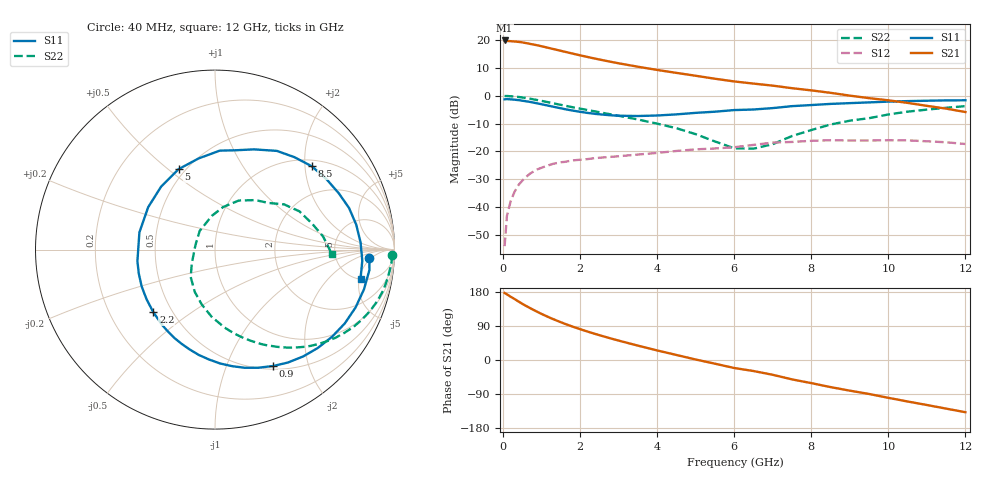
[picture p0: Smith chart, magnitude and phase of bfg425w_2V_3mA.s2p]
! Filename: 23bfg425.001
! BFG425W Field C1
! V1=8.180E-001V,V2=2.000E+000V, I1=3.890E-005A, I2=3.000E-003A
# GHz  S  MA  R 50
!  S11  S21  S12  S22
!Freq(GHz)  Mag  Ang  Mag  Ang  Mag  Ang  Mag  Ang
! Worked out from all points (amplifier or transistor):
!   44 points, 40 MHz to 12 GHz, reference 50 ohm
!   highest |S21| = 19.8 dB at 40 MHz (marker M1)
!   |S21| within 3 dB of that: start of sweep to 1.281 GHz
!   unconditionally stable (mu >= 1): 2.838 GHz to end of sweep
!   at 700 MHz: K = 0.23, MSG = 23.3 dB, |S12| = -28.0 dB
!   at 2.4 GHz: K = 0.84, MSG = 17.8 dB, |S12| = -22.4 dB
!   at 12 GHz: K = 1.63, MAG = 1.1 dB, |S12| = -17.3 dB
!   S11 on the Smith chart (normalised r, x): 40 MHz: 12, -4; 900 MHz: 0.54, -1.48; 2.2 GHz: 0.39, -0.36; 5 GHz: 0.46, +0.54; 8.5 GHz: 1.16, +2.17; 12 GHz: 5.05, -5.23
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0.04  0.861 -3.2  9.781 176.8  0.002 79.3  0.987 -1.7
0.1  0.868 -7.5  9.587 173.3  0.007 86.3  0.986 -4.4
0.2  0.859 -14.9  9.487 166.7  0.013 80.2  0.976 -9.0
0.3  0.847 -22.4  9.367 160.8  0.019 75.7  0.966 -13.3
0.5  0.813 -36.7  9.034 148.3  0.03 67.0  0.929 -21.6
0.7  0.772 -50.4  8.489 137.1  0.04 58.8  0.883 -29.3
0.9  0.725 -63.5  7.98 126.6  0.048 51.8  0.832 -36.2
1.2  0.656 -81.7  7.14 112.3  0.057 42.9  0.756 -45.2
1.5  0.594 -98.7  6.376 99.7  0.064 35.7  0.685 -52.9
1.8  0.542 -114.7  5.697 88.3  0.069 30.0  0.622 -59.7
2.2  0.49 -134.5  4.931 74.8  0.073 24.2  0.551 -67.9
2.6  0.457 -153.5  4.311 62.6  0.078 19.6  0.49 -75.6
3  0.437 -171.6  3.809 51.2  0.082 15.8  0.436 -83.2
3.5  0.432 167.2  3.305 37.9  0.088 11.5  0.374 -93.0
4.5  0.462 130.5  2.563 13.3  0.102 2.3  0.261 -115.6
5  0.492 114.4  2.276 1.3  0.109 -4.0  0.204 -131.6
6  0.552 87.2  1.8 -21.1  0.119 -16.1  0.114 178.8
6.5  0.565 78.4  1.647 -29.1  0.131 -16.0  0.112 159.9
7.5  0.649 57.9  1.363 -51.1  0.148 -33.9  0.189 95.3
8.5  0.712 40.6  1.125 -71.5  0.159 -50.0  0.304 64.1
10.5  0.799 10.1  0.743 -109.5  0.158 -84.1  0.517 24.3
12  0.827 -11.4  0.509 -137.8  0.136 -114.6  0.65 -1.9
